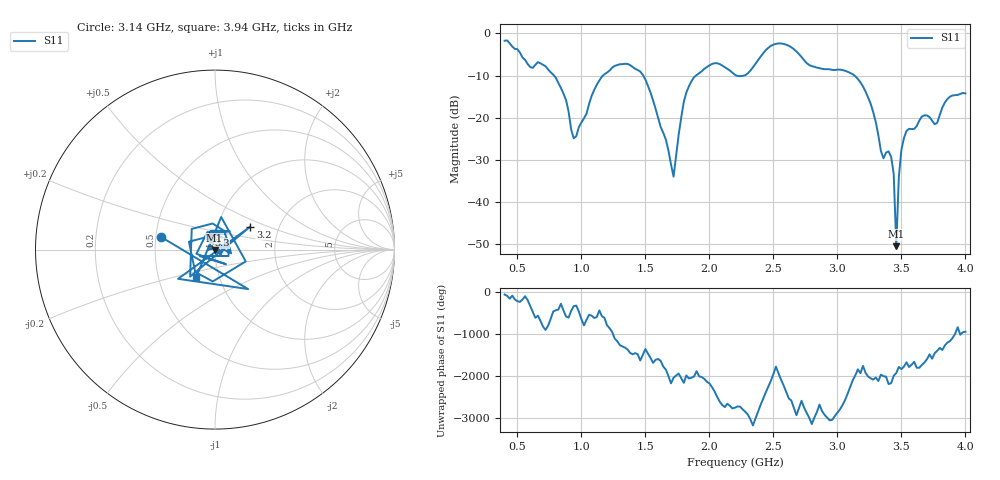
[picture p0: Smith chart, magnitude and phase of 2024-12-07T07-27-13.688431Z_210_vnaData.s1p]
!Created with skrf (http://scikit-rf.org).
# Hz S RI R 50.0
!freq ReS11 ImS11
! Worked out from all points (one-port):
!   181 points, 400 MHz to 4 GHz, reference 50 ohm
!   lowest |S11| = -50.5 dB at 3.46 GHz (marker M1), VSWR 1.01, Z = 49.8 - j0.201 ohm
!   |S11| at or under -10 dB: 785.7 MHz to 1.169 GHz (383.5 MHz wide, 39.2 % of centre); 1.483 GHz to 1.896 GHz (413.2 MHz wide, 24.5 % of centre); 3.133 GHz to end of sweep (the widest 3 of 4)
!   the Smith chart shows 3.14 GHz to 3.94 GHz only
!   S11 on the Smith chart (normalised r, x): 3.14 GHz: 0.53, +0.08; 3.2 GHz: 1.43, +0.39; 3.3 GHz: 0.92, +0.15; 3.94 GHz: 0.78, -0.25
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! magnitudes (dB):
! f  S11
! 400 MHz  -1.8
! 860 MHz  -14.3
! 940 MHz  -24.9
! 1.14 GHz  -11.2
! 1.3 GHz  -7.3
! 1.5 GHz  -11.0
! 1.72 GHz  -34.0
! 1.76 GHz  -24.0
! 1.8 GHz  -16.2
! 1.88 GHz  -10.4
! 2.04 GHz  -7.1
! 2.2 GHz  -9.8
! 2.5 GHz  -2.7
! 2.66 GHz  -3.8
! 3.1 GHz  -9.4
! 3.14 GHz  -10.2
! 3.2 GHz  -12.6
! 3.3 GHz  -21.1
! 3.36 GHz  -29.6
! 3.42 GHz  -29.3
! 3.44 GHz  -33.3
! 3.46 GHz  -50.5
! 3.48 GHz  -34.1
! 3.5 GHz  -27.7
! 3.56 GHz  -22.6
! 3.78 GHz  -21.2
! 3.94 GHz  -14.6
! 4 GHz  -14.2
